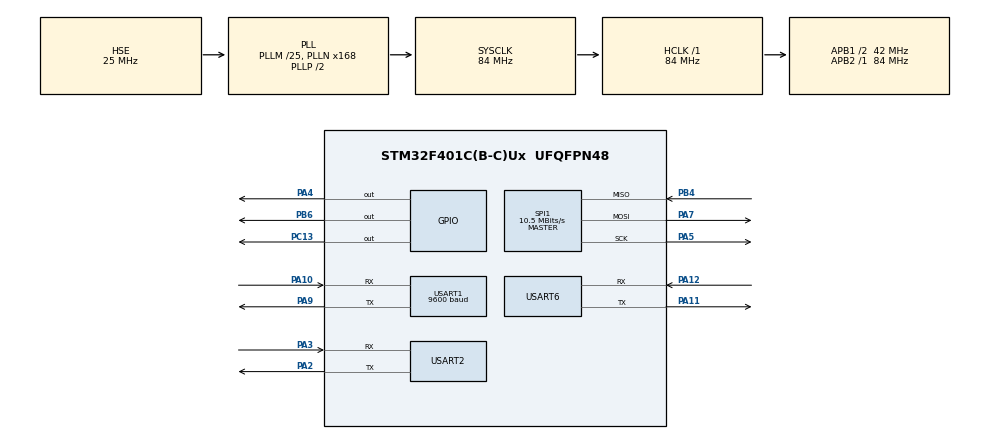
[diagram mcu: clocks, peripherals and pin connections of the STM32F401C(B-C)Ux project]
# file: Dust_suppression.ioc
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Dma.Request0=USART1_RX
Dma.USART1_RX.0.Direction=DMA_PERIPH_TO_MEMORY
Dma.USART1_RX.0.FIFOMode=DMA_FIFOMODE_DISABLE
Dma.USART1_RX.0.Instance=DMA2_Stream2
Dma.USART1_RX.0.MemDataAlignment=DMA_MDATAALIGN_BYTE
Dma.USART1_RX.0.MemInc=DMA_MINC_ENABLE
Dma.USART1_RX.0.Mode=DMA_CIRCULAR
Dma.USART1_RX.0.PeriphDataAlignment=DMA_PDATAALIGN_BYTE
Dma.USART1_RX.0.PeriphInc=DMA_PINC_DISABLE
Dma.USART1_RX.0.Priority=DMA_PRIORITY_LOW
IWDG.Prescaler=IWDG_PRESCALER_64
Mcu.Family=STM32F4
Mcu.Name=STM32F401C(B-C)Ux
Mcu.Package=UFQFPN48
NVIC.DMA2_Stream2_IRQn=true\:0\:0\:false\:false\:true\:false\:true
NVIC.PriorityGroup=NVIC_PRIORITYGROUP_4
NVIC.TIM2_IRQn=true\:0\:0\:false\:false\:true\:true\:true
NVIC.USART1_IRQn=true\:0\:0\:false\:false\:true\:true\:true
NVIC.USART2_IRQn=true\:0\:0\:false\:false\:true\:true\:true
NVIC.USART6_IRQn=true\:0\:0\:false\:false\:true\:true\:true
PA10.GPIO_PuPd=GPIO_PULLUP
PA10.GPIO_Speed=GPIO_SPEED_FREQ_LOW
PA10.Mode=Asynchronous
PA10.Signal=USART1_RX
PA11.GPIO_Speed=GPIO_SPEED_FREQ_MEDIUM
PA11.Mode=Asynchronous
PA11.Signal=USART6_TX
PA12.GPIO_PuPd=GPIO_PULLUP
PA12.GPIO_Speed=GPIO_SPEED_FREQ_MEDIUM
PA12.Mode=Asynchronous
PA12.Signal=USART6_RX
PA13.Mode=Serial_Wire
PA13.Signal=SYS_JTMS-SWDIO
PA14.Mode=Serial_Wire
PA14.Signal=SYS_JTCK-SWCLK
PA2.GPIO_Speed=GPIO_SPEED_FREQ_MEDIUM
PA2.Mode=Asynchronous
PA2.Signal=USART2_TX
PA3.GPIO_PuPd=GPIO_PULLUP
PA3.GPIO_Speed=GPIO_SPEED_FREQ_MEDIUM
PA3.Mode=Asynchronous
PA3.Signal=USART2_RX
PA4.GPIO_PuPd=GPIO_PULLUP
PA4.GPIO_Speed=GPIO_SPEED_FREQ_HIGH
PA4.PinState=GPIO_PIN_SET
PA4.Signal=GPIO_Output
PA5.GPIO_Mode=GPIO_MODE_AF_PP
PA5.GPIO_PuPd=GPIO_NOPULL
PA5.GPIO_Speed=GPIO_SPEED_FREQ_HIGH
PA5.Mode=Full_Duplex_Master
PA5.Signal=SPI1_SCK
PA7.GPIO_Speed=GPIO_SPEED_FREQ_HIGH
PA7.Mode=Full_Duplex_Master
PA7.Signal=SPI1_MOSI
PA9.GPIO_Speed=GPIO_SPEED_FREQ_LOW
PA9.Mode=Asynchronous
PA9.Signal=USART1_TX
PB4.GPIO_Speed=GPIO_SPEED_FREQ_HIGH
PB4.Mode=Full_Duplex_Master
PB4.Signal=SPI1_MISO
PB6.GPIO_Speed=GPIO_SPEED_FREQ_LOW
PB6.Signal=GPIO_Output
PC13-ANTI_TAMP.PinState=GPIO_PIN_SET
PC13-ANTI_TAMP.Signal=GPIO_Output
PH0\ -\ OSC_IN.Mode=HSE-External-Oscillator
PH0\ -\ OSC_IN.Signal=RCC_OSC_IN
PH1\ -\ OSC_OUT.Mode=HSE-External-Oscillator
PH1\ -\ OSC_OUT.Signal=RCC_OSC_OUT
ProjectManager.HeapSize=0x1000
ProjectManager.StackSize=0x2000
ProjectManager.TargetToolchain=MDK-ARM V5
RCC.48MHZClocksFreq_Value=42000000
RCC.AHBFreq_Value=84000000
RCC.APB1CLKDivider=RCC_HCLK_DIV2
RCC.APB1Freq_Value=42000000
RCC.APB1TimFreq_Value=84000000
RCC.APB2Freq_Value=84000000
RCC.APB2TimFreq_Value=84000000
RCC.CortexFreq_Value=84000000
RCC.HCLKFreq_Value=84000000
RCC.HSE_VALUE=25000000
RCC.HSI_VALUE=16000000
RCC.LSE_VALUE=32768
RCC.PLLM=25
RCC.PLLN=168
RCC.PLLSourceVirtual=RCC_PLLSOURCE_HSE
RCC.SYSCLKFreq_VALUE=84000000
RCC.SYSCLKSource=RCC_SYSCLKSOURCE_PLLCLK
RCC.VCOOutputFreq_Value=168000000
SPI1.BaudRatePrescaler=SPI_BAUDRATEPRESCALER_8
SPI1.CLKPhase=SPI_PHASE_2EDGE
SPI1.CLKPolarity=SPI_POLARITY_HIGH
SPI1.CalculateBaudRate=10.5 MBits/s
SPI1.Direction=SPI_DIRECTION_2LINES
SPI1.Mode=SPI_MODE_MASTER
SPI1.VirtualType=VM_MASTER
TIM2.AutoReloadPreload=TIM_AUTORELOAD_PRELOAD_ENABLE
TIM2.Period=999
TIM2.Prescaler=8399
TIM2.TIM_MasterSlaveMode=TIM_MASTERSLAVEMODE_DISABLE
USART1.BaudRate=9600
USART1.VirtualMode=VM_ASYNC
USART2.VirtualMode=VM_ASYNC
USART6.VirtualMode=VM_ASYNC
VP_IWDG_VS_IWDG.Mode=IWDG_Activate
VP_TIM2_VS_ClockSourceINT.Mode=Internal
board=custom

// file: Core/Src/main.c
/* USER CODE BEGIN Header */
/**
  ******************************************************************************
  * @file           : main.c
  * @brief          : Main program body
  ******************************************************************************
  * @attention
  *
  * <h2><center>&copy; Copyright (c) 2022 STMicroelectronics.
  * All rights reserved.</center></h2>
  *
  * This software component is licensed by ST under BSD 3-Clause license,
  * the "License"; You may not use this file except in compliance with the
  * License. You may obtain a copy of the License at:
  *                        opensource.org/licenses/BSD-3-Clause
  *
		<read me first> Xiaofeng Zhong 2022.7.10
		SPI_CS          PA4
		Pump  					PB6
		LED2            PC13
		note 1: set --> Target --> choose "use MicroLIB" for using printf().
		note 2: first use, E18 Mac address should be write to W25Q32.

  ******************************************************************************
  */
/* USER CODE END Header */
#include "main.h"

/* USER CODE BEGIN Includes */
#include "stdio.h"
#include "string.h"
#include "cJSON.h"
#include "assert.h"
#include "math.h"
#include "W25Qxx.h"
/* USER CODE END Includes */

/* USER CODE BEGIN PD */
#define MAX_rebuffsize  400					// STM32 UART1 rebuffsize
#define E18_number      3					// number of E18 chips

#define addr_for_software_params  0x00   //0~0x1000 is used for storging software params (W25Q32)
#define addr_for_SV_state 0x1000   //0x1000~0x11000 is used for storging pump_state
#define addr_for_E18_short_addr 0x11000   //0x11000~0x31000 is used for storging software params (W25Q32)
#define W25Qxx_addr_for_Mac   0x31000   //0x31000~0xB1000  write and read begin at this address
/* USER CODE END PD */

IWDG_HandleTypeDef hiwdg;

SPI_HandleTypeDef hspi1;

TIM_HandleTypeDef htim2;

UART_HandleTypeDef huart1;
UART_HandleTypeDef huart2;
UART_HandleTypeDef huart6;
DMA_HandleTypeDef hdma_usart1_rx;

/* USER CODE BEGIN PV */
struct item{
int	report_data;					//1: report data   0:don't report data
int	Pump_state;             //1:run 0:stop
int	SV_state;								//1:open 0:close
int	MAX_Moisture;      //if biger than this value,the solenoid valve and pump will stop
int	Min_Moisture;      //if smaller than this value,the solenoid valve and pump will run
int	interval_time;    	//delay=interval_time*(100ms)
int	auto_control;         //1: Auto  0: Manual
int	E18_mac_cnt;
int ADDR_cnt;
}item1;

/* USER CODE END PV */

void SystemClock_Config(void);
static void MX_GPIO_Init(void);
static void MX_IWDG_Init(void);
static void MX_USART1_UART_Init(void);
static void MX_USART2_UART_Init(void);
static void MX_USART6_UART_Init(void);
static void MX_DMA_Init(void);
static void MX_TIM2_Init(void);
static void MX_SPI1_Init(void);
/* USER CODE BEGIN PFP */
void NBIoT_Init(void); //NB-IoT initialization and subscrib to topic "/sys/gc6pOMrLMi8/NB-IoT_EC-01-Kit/thing/service/property/set/",every time it start
void W25Q32_Init(void);
void Params_Init(void);
int E18_Init(void);
int Get_ADDR(int Serial_Num);  // return -1:failed , addr
void Get_ALL_ADDR(void);
int Get_ADC(void);			// return -1:failed , adc
int BF(char* str, char* sub); //string matching
int SV_operate(int SV_state,int ADDR);  //return 1:ok, -1:failed
int Pump_operate(int Pump_state,int Serial_Num);   // return 1:on, 0:off
void MY_UART1_RxCpltCallback(void);
int fputc(int ch, FILE *f);
void Moisture_Get_and_Upload(void);  //Get Moisture from E18 and Report data through EC-01
void Record_Mac_cnt(void);
void Record_Params(void);
void Record_SV_state(int SV_state,int Serial_Num);
int Read_SV_state(void);
int Read_ADDR(int Serial_Num);
int Write_ADDR(uint8_t buffer[],int Serial_Num);
void Array_sort(void);
/* USER CODE END PFP */

/* USER CODE BEGIN 0 */
uint8_t W25Q32_read_buff[14];
uint8_t usart1_rebuff[MAX_rebuffsize];
uint8_t usart1_copy[MAX_rebuffsize];
uint16_t usart1_Rx_cnt=0;
uint8_t RecFlag=0;
uint8_t JSON_rebuff[200];
uint8_t usart6_rebuff[20];
uint8_t usart6_rebuf;
uint16_t usart6_Rx_cnt=0;
uint8_t usart2_rebuff[20];
uint8_t usart2_rebuf;
uint16_t usart2_Rx_cnt=0;
uint16_t detect_cnt=0;
volatile int adc_list[5];
uint8_t led_state=0;
float EC_sent_buffer[10][4];
volatile int EC_sent_cnt=1;
unsigned long mac_num=E18_number;
volatile uint8_t L2[7]={0xFE,0x04,0x23,0x00,0x00,0x02,0xFF};//Hex command for getting adc vale
/* USER CODE END 0 */

int main(void)
{

  /* MCU Configuration--------------------------------------------------------*/

  /* Reset of all peripherals, Initializes the Flash interface and the Systick. */
  HAL_Init();

  /* Configure the system clock */
  SystemClock_Config();

  /* Initialize all configured peripherals */
  MX_GPIO_Init();
  MX_DMA_Init();
  MX_USART1_UART_Init();
  MX_USART2_UART_Init();
  MX_USART6_UART_Init();
  MX_TIM2_Init();
  MX_SPI1_Init();
  /* USER CODE BEGIN 2 */
	HAL_Delay(1000);
	W25Q32_Init();
	Params_Init();
	E18_Init();
	NBIoT_Init();
	Get_ALL_ADDR();
	__HAL_UART_ENABLE_IT(&huart1,UART_IT_IDLE);
  HAL_UART_Receive_DMA(&huart1,usart1_rebuff,MAX_rebuffsize);
	MX_IWDG_Init();	 // note!!!, MX_IWDG_Init() must follow NBIoT_Init and other user code!!!  and  MX_DMA_Init() must before MX_USART1_UART_Init()
	HAL_TIM_Base_Start_IT(&htim2);
  /* USER CODE END 2 */

  /* Infinite loop */
  /* USER CODE BEGIN WHILE */
  while (1)
  {
		if (RecFlag==1){												//Judge DMA UART1 receive flag,
				MY_UART1_RxCpltCallback();					//deal with message received from UART1
				Record_Params();										//record user settings in W25Q32(spi flash)
				RecFlag=0;													//reset flag
		}
		if (detect_cnt>=(item1.interval_time*50)){  							//soil moisture detect interval,minimum scale:0.1s
				detect_cnt=0;																					//delay count reset
				//printf("E18_mac_cnt:%d\r\n",item1.E18_mac_cnt);  		//show the current number of E18 by which soil moisture is being detected
				Moisture_Get_and_Upload();														//show the current number of E18 by which soil moisture is being detected
				Record_Mac_cnt();																			//show the current number of E18 by which soil moisture is being detected
				if(item1.E18_mac_cnt>=(mac_num-1)){
							item1.E18_mac_cnt=0;}
				else{item1.E18_mac_cnt++;}														//Polling statement
		}else{detect_cnt++;HAL_Delay(1);}
    /* USER CODE END WHILE */

  }

}

void SystemClock_Config(void)
{
  RCC_OscInitTypeDef RCC_OscInitStruct = {0};
  RCC_ClkInitTypeDef RCC_ClkInitStruct = {0};

  /** Configure the main internal regulator output voltage
  */
  __HAL_RCC_PWR_CLK_ENABLE();
  __HAL_PWR_VOLTAGESCALING_CONFIG(PWR_REGULATOR_VOLTAGE_SCALE2);
  /** Initializes the RCC Oscillators according to the specified parameters
  * in the RCC_OscInitTypeDef structure.
  */
  RCC_OscInitStruct.OscillatorType = RCC_OSCILLATORTYPE_LSI|RCC_OSCILLATORTYPE_HSE;
  RCC_OscInitStruct.HSEState = RCC_HSE_ON;
  RCC_OscInitStruct.LSIState = RCC_LSI_ON;
  RCC_OscInitStruct.PLL.PLLState = RCC_PLL_ON;
  RCC_OscInitStruct.PLL.PLLSource = RCC_PLLSOURCE_HSE;
  RCC_OscInitStruct.PLL.PLLM = 25;
  RCC_OscInitStruct.PLL.PLLN = 168;
  RCC_OscInitStruct.PLL.PLLP = RCC_PLLP_DIV2;
  RCC_OscInitStruct.PLL.PLLQ = 4;
  if (HAL_RCC_OscConfig(&RCC_OscInitStruct) != HAL_OK)
  {
    Error_Handler();
  }
  /** Initializes the CPU, AHB and APB buses clocks
  */
  RCC_ClkInitStruct.ClockType = RCC_CLOCKTYPE_HCLK|RCC_CLOCKTYPE_SYSCLK
                              |RCC_CLOCKTYPE_PCLK1|RCC_CLOCKTYPE_PCLK2;
  RCC_ClkInitStruct.SYSCLKSource = RCC_SYSCLKSOURCE_PLLCLK;
  RCC_ClkInitStruct.AHBCLKDivider = RCC_SYSCLK_DIV1;
  RCC_ClkInitStruct.APB1CLKDivider = RCC_HCLK_DIV2;
  RCC_ClkInitStruct.APB2CLKDivider = RCC_HCLK_DIV1;

  if (HAL_RCC_ClockConfig(&RCC_ClkInitStruct, FLASH_LATENCY_2) != HAL_OK)
  {
    Error_Handler();
  }
}

static void MX_IWDG_Init(void)
{

  hiwdg.Instance = IWDG;
  hiwdg.Init.Prescaler = IWDG_PRESCALER_64;
  hiwdg.Init.Reload = 4095;
  if (HAL_IWDG_Init(&hiwdg) != HAL_OK)
  {
    Error_Handler();
  }

}

static void MX_SPI1_Init(void)
{

  /* SPI1 parameter configuration*/
  hspi1.Instance = SPI1;
  hspi1.Init.Mode = SPI_MODE_MASTER;
  hspi1.Init.Direction = SPI_DIRECTION_2LINES;
  hspi1.Init.DataSize = SPI_DATASIZE_8BIT;
  hspi1.Init.CLKPolarity = SPI_POLARITY_HIGH;
  hspi1.Init.CLKPhase = SPI_PHASE_2EDGE;
  hspi1.Init.NSS = SPI_NSS_SOFT;
  hspi1.Init.BaudRatePrescaler = SPI_BAUDRATEPRESCALER_8;
  hspi1.Init.FirstBit = SPI_FIRSTBIT_MSB;
  hspi1.Init.TIMode = SPI_TIMODE_DISABLE;
  hspi1.Init.CRCCalculation = SPI_CRCCALCULATION_DISABLE;
  hspi1.Init.CRCPolynomial = 10;
  if (HAL_SPI_Init(&hspi1) != HAL_OK)
  {
    Error_Handler();
  }

}

static void MX_TIM2_Init(void)
{

  TIM_ClockConfigTypeDef sClockSourceConfig = {0};
  TIM_MasterConfigTypeDef sMasterConfig = {0};

  htim2.Instance = TIM2;
  htim2.Init.Prescaler = 8399;
  htim2.Init.CounterMode = TIM_COUNTERMODE_UP;
  htim2.Init.Period = 999;
  htim2.Init.ClockDivision = TIM_CLOCKDIVISION_DIV1;
  htim2.Init.AutoReloadPreload = TIM_AUTORELOAD_PRELOAD_ENABLE;
  if (HAL_TIM_Base_Init(&htim2) != HAL_OK)
  {
    Error_Handler();
  }
  sClockSourceConfig.ClockSource = TIM_CLOCKSOURCE_INTERNAL;
  if (HAL_TIM_ConfigClockSource(&htim2, &sClockSourceConfig) != HAL_OK)
  {
    Error_Handler();
  }
  sMasterConfig.MasterOutputTrigger = TIM_TRGO_RESET;
  sMasterConfig.MasterSlaveMode = TIM_MASTERSLAVEMODE_DISABLE;
  if (HAL_TIMEx_MasterConfigSynchronization(&htim2, &sMasterConfig) != HAL_OK)
  {
    Error_Handler();
  }

}

static void MX_USART1_UART_Init(void)
{

  huart1.Instance = USART1;
  huart1.Init.BaudRate = 9600;
  huart1.Init.WordLength = UART_WORDLENGTH_8B;
  huart1.Init.StopBits = UART_STOPBITS_1;
  huart1.Init.Parity = UART_PARITY_NONE;
  huart1.Init.Mode = UART_MODE_TX_RX;
  huart1.Init.HwFlowCtl = UART_HWCONTROL_NONE;
  huart1.Init.OverSampling = UART_OVERSAMPLING_16;
  if (HAL_UART_Init(&huart1) != HAL_OK)
  {
    Error_Handler();
  }

}

static void MX_USART2_UART_Init(void)
{

  huart2.Instance = USART2;
  huart2.Init.BaudRate = 115200;
  huart2.Init.WordLength = UART_WORDLENGTH_8B;
  huart2.Init.StopBits = UART_STOPBITS_1;
  huart2.Init.Parity = UART_PARITY_NONE;
  huart2.Init.Mode = UART_MODE_TX_RX;
  huart2.Init.HwFlowCtl = UART_HWCONTROL_NONE;
  huart2.Init.OverSampling = UART_OVERSAMPLING_16;
  if (HAL_UART_Init(&huart2) != HAL_OK)
  {
    Error_Handler();
  }

}

static void MX_USART6_UART_Init(void)
{

  huart6.Instance = USART6;
  huart6.Init.BaudRate = 115200;
  huart6.Init.WordLength = UART_WORDLENGTH_8B;
  huart6.Init.StopBits = UART_STOPBITS_1;
  huart6.Init.Parity = UART_PARITY_NONE;
  huart6.Init.Mode = UART_MODE_TX_RX;
  huart6.Init.HwFlowCtl = UART_HWCONTROL_NONE;
  huart6.Init.OverSampling = UART_OVERSAMPLING_16;
  if (HAL_UART_Init(&huart6) != HAL_OK)
  {
    Error_Handler();
  }

}

static void MX_DMA_Init(void)
{

  /* DMA controller clock enable */
  __HAL_RCC_DMA2_CLK_ENABLE();

  /* DMA interrupt init */
  /* DMA2_Stream2_IRQn interrupt configuration */
  HAL_NVIC_SetPriority(DMA2_Stream2_IRQn, 0, 0);
  HAL_NVIC_EnableIRQ(DMA2_Stream2_IRQn);

}

static void MX_GPIO_Init(void)
{
  GPIO_InitTypeDef GPIO_InitStruct = {0};

  /* GPIO Ports Clock Enable */
  __HAL_RCC_GPIOC_CLK_ENABLE();
  __HAL_RCC_GPIOH_CLK_ENABLE();
  __HAL_RCC_GPIOA_CLK_ENABLE();
  __HAL_RCC_GPIOB_CLK_ENABLE();

  /*Configure GPIO pin Output Level */
  HAL_GPIO_WritePin(GPIOC, GPIO_PIN_13, GPIO_PIN_SET);

  /*Configure GPIO pin Output Level */
  HAL_GPIO_WritePin(GPIOA, GPIO_PIN_4, GPIO_PIN_SET);

  /*Configure GPIO pin Output Level */
  HAL_GPIO_WritePin(GPIOB, GPIO_PIN_6, GPIO_PIN_RESET);

  /*Configure GPIO pin : PC13 */
  GPIO_InitStruct.Pin = GPIO_PIN_13;
  GPIO_InitStruct.Mode = GPIO_MODE_OUTPUT_PP;
  GPIO_InitStruct.Pull = GPIO_NOPULL;
  GPIO_InitStruct.Speed = GPIO_SPEED_FREQ_LOW;
  HAL_GPIO_Init(GPIOC, &GPIO_InitStruct);

  /*Configure GPIO pin : PA4 */
  GPIO_InitStruct.Pin = GPIO_PIN_4;
  GPIO_InitStruct.Mode = GPIO_MODE_OUTPUT_PP;
  GPIO_InitStruct.Pull = GPIO_PULLUP;
  GPIO_InitStruct.Speed = GPIO_SPEED_FREQ_HIGH;
  HAL_GPIO_Init(GPIOA, &GPIO_InitStruct);

  /*Configure GPIO pin : PB6 */
  GPIO_InitStruct.Pin = GPIO_PIN_6;
  GPIO_InitStruct.Mode = GPIO_MODE_OUTPUT_PP;
  GPIO_InitStruct.Pull = GPIO_NOPULL;
  GPIO_InitStruct.Speed = GPIO_SPEED_FREQ_LOW;
  HAL_GPIO_Init(GPIOB, &GPIO_InitStruct);

}

/* USER CODE BEGIN 4 */
void NBIoT_Init(void){
	printf("NB-IoT init .....\r\n"); //check whether the startup is ok
	printf("stpe0\r\n");
	while(1){
	HAL_UART_Transmit(&huart1, (uint8_t *)"ATE0\r\n",6,0xFFFF);//	Do not send back instructions
	HAL_UART_Receive(&huart1, (void *)&usart1_rebuff, 6, 1000);
		if(BF((char*)usart1_rebuff, "OK")!=-1){memset(usart1_rebuff,0x00,sizeof(usart1_rebuff));break;}
		memset(usart1_rebuff,0x00,sizeof(usart1_rebuff));
		HAL_Delay(200);
	}
	printf("stpe1\r\n"); //check whether the startup is ok
	while(1){
	HAL_UART_Transmit(&huart1, (uint8_t *)"AT\r\n",4,0xFFFF);
	HAL_UART_Receive(&huart1, (void *)&usart1_rebuff, 6, 1000);
		if(BF((char*)usart1_rebuff, "OK")!=-1){memset(usart1_rebuff,0x00,sizeof(usart1_rebuff));break;}
		memset(usart1_rebuff,0x00,sizeof(usart1_rebuff));
		HAL_Delay(200);
	}
	printf("stpe2\r\n");//show SIM card number
	while(1){
	HAL_UART_Transmit(&huart1, (uint8_t *)"AT+ECICCID\r\n",12,0xFFFF);
	HAL_UART_Receive(&huart1, (void *)&usart1_rebuff, 64, 1000);
		if(BF((char*)usart1_rebuff, "OK")!=-1){printf("%s\r\n",usart1_rebuff);memset(usart1_rebuff,0x00,sizeof(usart1_rebuff));break;}
		memset(usart1_rebuff,0x00,sizeof(usart1_rebuff));
		HAL_Delay(200);
	}
	printf("stpe3\r\n");//Turn off flight mode
	while(1){
	HAL_UART_Transmit(&huart1, (uint8_t *)"AT+CFUN=1\r\n",11,0xFFFF);
	HAL_UART_Receive(&huart1, (void *)&usart1_rebuff, 6, 1000);
		if(BF((char*)usart1_rebuff, "OK")!=-1){memset(usart1_rebuff,0x00,sizeof(usart1_rebuff));break;}
		memset(usart1_rebuff,0x00,sizeof(usart1_rebuff));
		HAL_Delay(200);
	}
	printf("stpe4\r\n");//PS attachment
	while(1){
	HAL_UART_Transmit(&huart1, (uint8_t *)"AT+CGATT=1\r\n",12,0xFFFF);
	HAL_UART_Receive(&huart1, (void *)&usart1_rebuff, 6, 1000);
		if(BF((char*)usart1_rebuff, "OK")!=-1){memset(usart1_rebuff,0x00,sizeof(usart1_rebuff));break;}
		memset(usart1_rebuff,0x00,sizeof(usart1_rebuff));
		HAL_Delay(200);
	}
	printf("stpe5\r\n");//show signal quality
	while(1){
	HAL_UART_Transmit(&huart1, (uint8_t *)"AT+CSQ\r\n",8,0xFFFF);
	HAL_UART_Receive(&huart1, (void *)&usart1_rebuff, 64, 1000);
		if(BF((char*)usart1_rebuff, "OK")!=-1){printf("%s\r\n",usart1_rebuff);memset(usart1_rebuff,0x00,sizeof(usart1_rebuff));break;}
		memset(usart1_rebuff,0x00,sizeof(usart1_rebuff));
		HAL_Delay(200);
	}
	printf("stpe6\r\n");//active PDP Context
	while(1){
	HAL_UART_Transmit(&huart1, (uint8_t *)"AT+CGDCONT=1,IP,CMNET\r\n",23,0xFFFF);
	HAL_UART_Receive(&huart1, (void *)&usart1_rebuff, 6, 1000);
		if(BF((char*)usart1_rebuff, "OK")!=-1){memset(usart1_rebuff,0x00,sizeof(usart1_rebuff));break;}
		memset(usart1_rebuff,0x00,sizeof(usart1_rebuff));
		HAL_Delay(200);
	}
	printf("stpe7\r\n");//keep alive every 60 seconds
	while(1){
	HAL_UART_Transmit(&huart1, (uint8_t *)"AT+ECMTCFG=\"keepalive\",0,60\r\n",64,0xFFFF);
	HAL_UART_Receive(&huart1, (void *)&usart1_rebuff, 6, 1000);
		if(BF((char*)usart1_rebuff, "OK")!=-1){memset(usart1_rebuff,0x00,sizeof(usart1_rebuff));break;}
		memset(usart1_rebuff,0x00,sizeof(usart1_rebuff));
		HAL_Delay(200);
	}
	printf("stpe8\r\n");//Set the cloud platform to Alibaba cloud and the data type to JSON
	while(1){
	HAL_UART_Transmit(&huart1, (uint8_t *)"AT+ECMTCFG=\"cloud\",0,2,1\r\n",27,0xFFFF);
	HAL_UART_Receive(&huart1, (void *)&usart1_rebuff, 6, 1000);
		if(BF((char*)usart1_rebuff, "OK")!=-1){memset(usart1_rebuff,0x00,sizeof(usart1_rebuff));break;}
		memset(usart1_rebuff,0x00,sizeof(usart1_rebuff));
		HAL_Delay(200);
	}
	printf("stpe9\r\n");//Set MQTT account
	while(1){
	HAL_UART_Transmit(&huart1, (uint8_t *)"AT+ECMTCFG=\"aliauth\",0,\"gc6pOMrLMi8\",\"NB-IoT_EC-01-Kit\",\"696de0a6ad9bb5b66f8140e8aac5dad9\"\r\n",92,0xFFFF);
	HAL_UART_Receive(&huart1, (void *)&usart1_rebuff, 6, 1000);
		if(BF((char*)usart1_rebuff, "OK")!=-1){memset(usart1_rebuff,0x00,sizeof(usart1_rebuff));break;}
		memset(usart1_rebuff,0x00,sizeof(usart1_rebuff));
		HAL_Delay(200);
	}
	printf("stpe10\r\n");//IoT platform address and port
	while(1){
	HAL_UART_Transmit(&huart1, (uint8_t *)"AT+ECMTOPEN=0,\"gc6pOMrLMi8.iot-as-mqtt.cn-shanghai.aliyuncs.com\",1883\r\n",72,0xFFFF);
	HAL_UART_Receive(&huart1, (void *)&usart1_rebuff, 64, 1000);
		if(BF((char*)usart1_rebuff, "OK")!=-1){memset(usart1_rebuff,0x00,sizeof(usart1_rebuff));break;}
		memset(usart1_rebuff,0x00,sizeof(usart1_rebuff));
		HAL_Delay(200);
	}
	printf("stpe11\r\n");//Create an mqtt client and register the device in the cloud
	while(1){
	HAL_UART_Transmit(&huart1, (uint8_t *)"AT+ECMTCONN=0,\"12345\"\r\n",23,0xFFFF);
	HAL_UART_Receive(&huart1, (void *)&usart1_rebuff, 64, 1000);
		if(BF((char*)usart1_rebuff, "OK")!=-1){memset(usart1_rebuff,0x00,sizeof(usart1_rebuff));break;}
		memset(usart1_rebuff,0x00,sizeof(usart1_rebuff));
		HAL_Delay(200);
	}
	printf("stpe12\r\n");//Subscribe to Topics
	while(1){
	HAL_UART_Transmit(&huart1, (uint8_t *)"AT+ECMTSUB=0,1,\"/sys/gc6pOMrLMi8/NB-IoT_EC-01-Kit/thing/service/property/set\",1\r\n",81,0xFFFF);
	HAL_UART_Receive(&huart1, (void *)&usart1_rebuff, 64, 1000);
		if(BF((char*)usart1_rebuff, "OK")!=-1){memset(usart1_rebuff,0x00,sizeof(usart1_rebuff));break;}
		memset(usart1_rebuff,0x00,sizeof(usart1_rebuff));
		HAL_Delay(200);
	}
	printf("NB-IoT Init OK.....\r\n");//NB-IoT Initialization succeeded
	//publish topics
	char str1[512];
	sprintf(str1,"AT+ECMTPUB=0,1,1,0,\"/sys/gc6pOMrLMi8/NB-IoT_EC-01-Kit/thing/event/property/post\",\"{\"params\":{\"auto_control\":{\"value\":%d},\"report_data\":{\"value\":%d},\"MAX_Moisture\":{\"value\":%d},\"Min_Moisture\":{\"value\":%d},\"interval_time\":{\"value\":%d},\"Pump\":{\"value\":%d}}}\"\r\n",item1.auto_control,item1.report_data,item1.MAX_Moisture,item1.Min_Moisture,item1.interval_time,item1.Pump_state);
	HAL_UART_Transmit(&huart1,(uint8_t*)str1,strlen(str1),5000);while(HAL_UART_GetState(&huart1) == HAL_UART_STATE_BUSY_TX);
	printf("publish topic OK....\r\n");

}

int BF(char* str, char* sub){//string matching
	assert(str&&sub);
	if (str == NULL || sub == NULL)
	{
		return -1;
	}
	int i = 0;
	int j = 0;
	int lenstr = strlen(str);
	int lensub = strlen(sub);
	while ((i < lenstr) && (j < lensub))
	{
		if (str[i] == sub[j])
		{
			i++;
			j++;
		}
		else
		{
			i = i - j + 1;
			j = 0;
		}
	}
	if (j >= lensub)
	{
		return i - j;
	}
	else
		return -1;
}

void HAL_TIM_PeriodElapsedCallback(TIM_HandleTypeDef *htim){ //led  twinkle and IWDG feed
	if (htim->Instance == htim2.Instance)
	{	HAL_IWDG_Refresh(&hiwdg);
		if (led_state){
		HAL_GPIO_WritePin(GPIOC, GPIO_PIN_13,GPIO_PIN_RESET);
		}else{HAL_GPIO_WritePin(GPIOC, GPIO_PIN_13,GPIO_PIN_SET);}
		led_state=!led_state;
	}
}

void Moisture_Get_and_Upload(void){
	if (item1.auto_control==0){;}
	else{
			int address;float adc;int Serial_Num=item1.E18_mac_cnt+1;int judge;
			if(item1.E18_mac_cnt==0){address=65535;}else{
			address=Read_ADDR(Serial_Num);}
			if (address==65529){
						int addr_value=Get_ADDR(Serial_Num);
						if (addr_value==-1){return;}
						else{
								L2[3]=(uint8_t)(addr_value/256);L2[4]=(uint8_t)(addr_value%256);
								uint8_t W25Q32_write_buff[2]={L2[3],L2[4]};
								Write_ADDR((unsigned char*)W25Q32_write_buff,Serial_Num);}
				}else{L2[3]=(uint8_t)(address/256);L2[4]=(uint8_t)(address%256);}
				//printf("address:%d...",address);

				for(int j=0;j<5;j++){adc_list[j]=Get_ADC();}						//get adc value 5 times
				Array_sort();																						//Array sort
				adc=(adc_list[1]+adc_list[2]+adc_list[3])/3;						//Eliminate the maximum and minimum values, then take the average value
				adc=(3300-adc);																					//Change negative correlation data into positive correlation data
				adc=(adc-1742)*100/(887);																//Using fuzzy mathematics to define humidity percentage

				if (adc>100){adc=100;}						//Set upper limit
				if (adc<0){adc=0;}								//Set lower limit

				judge=adc_list[0];
				memset((void*)&adc_list,0x00,sizeof(adc_list));
			if (judge==-1){
						int addr_value=Get_ADDR(Serial_Num);
						if (addr_value==-1){return;}
						else{
							L2[3]=(uint8_t)(addr_value/256);L2[4]=(uint8_t)(addr_value%256);
							uint8_t W25Q32_write_buff[2]={L2[3],L2[4]};
							Write_ADDR((unsigned char*)W25Q32_write_buff,Serial_Num);}
			}
		if ((adc>item1.MAX_Moisture)||(adc<item1.Min_Moisture)){
					if (adc>item1.MAX_Moisture){item1.SV_state=0;item1.Pump_state=0,SV_operate(item1.SV_state,address);item1.Pump_state=Pump_operate(item1.Pump_state,Serial_Num);}
					if (adc<item1.Min_Moisture){item1.SV_state=1;item1.Pump_state=1,SV_operate(item1.SV_state,address);item1.Pump_state=Pump_operate(item1.Pump_state,Serial_Num);}
				if (item1.report_data==1){
							if(item1.interval_time>10){
									char str1[300];
									sprintf(str1,"AT+ECMTPUB=0,1,1,0,\"/sys/gc6pOMrLMi8/NB-IoT_EC-01-Kit/thing/event/property/post\",\"{\"params\":{\"SM%d\":{\"value\":%.1f},\"Serial_Num\":{\"value\":%d},\"SV%d\":{\"value\":%d},\"Pump\":{\"value\":%d}}}\"\r\n",Serial_Num,adc,Serial_Num,Serial_Num,item1.SV_state,item1.Pump_state);
									HAL_UART_Transmit(&huart1,(uint8_t*)str1,strlen(str1),5000);
									printf("publish topic OK....\r\n");
							}else	{
										EC_sent_buffer[EC_sent_cnt-1][0]=Serial_Num;EC_sent_buffer[EC_sent_cnt-1][1]=adc;EC_sent_buffer[EC_sent_cnt-1][2]=item1.SV_state;EC_sent_buffer[EC_sent_cnt-1][3]=item1.Pump_state;
										if (EC_sent_cnt%((int)(10/item1.interval_time))==0){
													char str1[1024]="AT+ECMTPUB=0,1,1,0,\"/sys/gc6pOMrLMi8/NB-IoT_EC-01-Kit/thing/event/property/post\",\"{\"params\":{";
													int count=0;
													for (int i=0;i<(int)(10/item1.interval_time);i++){
															char str2[150];
															sprintf(str2,"\"SM%d\":{\"value\":%.1f},\"SV%d\":{\"value\":%d},",(int)EC_sent_buffer[i][0],EC_sent_buffer[i][1],(int)EC_sent_buffer[i][0],(int)EC_sent_buffer[i][2]);
															sprintf(str1,"%s%s",str1,str2);
															if (EC_sent_buffer[i][3]==1){count=1;}
													}
													char str3[20];
													sprintf(str3,"\"Pump\":{\"value\":%d}",count);
													sprintf(str1,"%s%s",str1,str3);
													int len =strlen((void *)&str1);
													str1[len]='}';str1[len+1]='}';str1[len+2]='\"';str1[len+3]='\r';str1[len+4]='\n';
													HAL_UART_Transmit(&huart1,(uint8_t*)str1,strlen(str1),5000);
													//HAL_UART_Transmit(&huart6,(uint8_t*)str1,strlen(str1),5000);while(HAL_UART_GetState(&huart6) == HAL_UART_STATE_BUSY_TX);
													printf("publish topic OK....\r\n");
													EC_sent_cnt=0;
										}EC_sent_cnt++;
							}
				}
		}else{
								if (item1.report_data==1){
											if(item1.interval_time>10){
														char str1[300];
														sprintf(str1,"AT+ECMTPUB=0,1,1,0,\"/sys/gc6pOMrLMi8/NB-IoT_EC-01-Kit/thing/event/property/post\",\"{\"params\":{\"SM%d\":{\"value\":%.1f}}}\"\r\n",Serial_Num,adc);
														HAL_UART_Transmit(&huart1,(uint8_t*)str1,strlen(str1),5000);
														printf("publish topic OK....\r\n");
											}else	{
														EC_sent_buffer[EC_sent_cnt-1][0]=Serial_Num;EC_sent_buffer[EC_sent_cnt-1][1]=adc;
														if (EC_sent_cnt%((int)(10/item1.interval_time))==0){
																	char str1[1024]="AT+ECMTPUB=0,1,1,0,\"/sys/gc6pOMrLMi8/NB-IoT_EC-01-Kit/thing/event/property/post\",\"{\"params\":{";
																	for (int i=0;i<(int)(10/item1.interval_time);i++){
																			char str2[150];
																			sprintf(str2,"\"SM%d\":{\"value\":%.1f},",(int)EC_sent_buffer[i][0],EC_sent_buffer[i][1]);
																			sprintf(str1,"%s%s",str1,str2);
																	}
																	int len =strlen((void *)&str1);
																	str1[len]='}';str1[len+1]='}';str1[len+2]='\"';str1[len+3]='\r';str1[len+4]='\n';
																	HAL_UART_Transmit(&huart1,(uint8_t*)str1,strlen(str1),5000);
																	//HAL_UART_Transmit(&huart6,(uint8_t*)str1,strlen(str1),5000);while(HAL_UART_GetState(&huart6) == HAL_UART_STATE_BUSY_TX);
																	printf("publish topic OK....\r\n");
																	EC_sent_cnt=0;
														}EC_sent_cnt++;
													}
					}

			}
		}
	}

int SV_operate(int SV_state,int ADDR){
		int timeout=8;
		uint8_t L1[8]={0xFD,0x05,0x20,0xFF,0xFF,0x03,0x00,0xFF}; //gpio output
		uint8_t L2[8]={0xFD,0x05,0x21,0xFF,0xFF,0x03,0x01,0xFF}; //gpio output level
		while(timeout--){
						L1[3]=(uint8_t)(ADDR/256);L1[4]=(uint8_t)(ADDR%256);
						HAL_UART_Transmit(&huart2,(void *)&L1,8,1000);
						HAL_UART_Receive(&huart2, (void *)&usart2_rebuff, 4,1000);
							if((usart2_rebuff[0] == 0xFA)&&(usart2_rebuff[1] == 0x20))
									{
										memset(usart2_rebuff,0x00,sizeof(usart2_rebuff));break;}
							memset(usart2_rebuff,0x00,sizeof(usart2_rebuff));
				}
		while(timeout--){
						if(SV_state==1){
								L2[3]=(uint8_t)(ADDR/256);L2[4]=(uint8_t)(ADDR%256);L2[6]=0x01;}
						else if (SV_state==0){
								L2[3]=(uint8_t)(ADDR/256);L2[4]=(uint8_t)(ADDR%256);L2[6]=0x00;}

						HAL_UART_Transmit(&huart2,(void *)&L2,8,1000);
						HAL_UART_Receive(&huart2, (void *)&usart2_rebuff, 4,1000);
							if((usart2_rebuff[0] == 0xFA)&&(usart2_rebuff[1] == 0x21))
									{
										memset(usart2_rebuff,0x00,sizeof(usart2_rebuff));break;}
							memset(usart2_rebuff,0x00,sizeof(usart2_rebuff));
				}
		if (timeout<0){ printf("SV_operate falied !!!\r\n");return -1;}else{return 1;}
}

int Pump_operate(int Pump_state,int Serial_Num){
		int pump_on;int n;
		if (item1.auto_control==0){
				if(Pump_state==1){pump_on=1;HAL_GPIO_WritePin(GPIOB, GPIO_PIN_6,GPIO_PIN_SET);}
				else if(Pump_state==0){pump_on=0;HAL_GPIO_WritePin(GPIOB, GPIO_PIN_6,GPIO_PIN_RESET);}
		}else if (item1.auto_control==1){
		Record_SV_state(Pump_state,Serial_Num);
		n=Read_SV_state();
		if (n==1){    // only when every pump state is off ,the pump will off.
					pump_on=1;HAL_GPIO_WritePin(GPIOB, GPIO_PIN_6,GPIO_PIN_SET);}
		else if(n==-1){
				 pump_on=0;HAL_GPIO_WritePin(GPIOB, GPIO_PIN_6,GPIO_PIN_RESET);}
		}
		return pump_on;
}

int Get_ADDR(int Serial_Num){
	int timeout=8;int addr=-1;uint8_t L1[12]={0xFE,0x09,0x10,0x00,0x00,0x00,0x00,0x00,0x00,0x00,0x00,0xFF};
	W25QXX_Read((uint8_t*)W25Q32_read_buff,W25Qxx_addr_for_Mac+(Serial_Num-1)*8,8);
	for(int j=0;j<8;j++){L1[j+3]=W25Q32_read_buff[j];}
	memset(W25Q32_read_buff,0x00,sizeof(W25Q32_read_buff));
	while(timeout--){
									HAL_UART_Transmit(&huart2,(void *)&L1,12,0x1000);while(HAL_UART_GetState(&huart2) == HAL_UART_STATE_BUSY_TX);
									HAL_UART_Receive(&huart2, (void *)&usart2_rebuff, 4,500);
										if(usart2_rebuff[0] == 0xFB)
												{addr=usart2_rebuff[1]*256+usart2_rebuff[2];memset(usart2_rebuff,0x00,sizeof(usart2_rebuff));break;}
												memset(usart2_rebuff,0x00,sizeof(usart2_rebuff));
							}
	if (timeout<0){ printf("get short_address falied !!!\r\n");return -1;}else{return addr;}

}
int Read_ADDR(int Serial_Num){
	W25QXX_Read((uint8_t*)W25Q32_read_buff,addr_for_E18_short_addr+(Serial_Num-1)*8,2);
	int addr=W25Q32_read_buff[0]*256+W25Q32_read_buff[1];
	memset(W25Q32_read_buff,0x00,sizeof(W25Q32_read_buff));
	return addr;
}
int Write_ADDR(uint8_t buffer[],int Serial_Num){
			W25QXX_Write_Enable();
			W25QXX_Write((unsigned char*)buffer,addr_for_E18_short_addr+(Serial_Num-1)*8,2);
			W25QXX_Write_Disable();
return 1;
}
void Get_ALL_ADDR(void){
	int addr=-1;
	for (int k=item1.ADDR_cnt;k<mac_num;k++){
	printf("get short_address  No.%d...\r\n",k+1);
	addr=Get_ADDR(k+1);
	if (addr==-1){
			uint8_t W25Q32_write_buff[2]={0xFF,0xF9};
			Write_ADDR((unsigned char*)W25Q32_write_buff,k+1);
			}
	else{
			uint8_t W25Q32_write_buff[2]={(uint8_t)(addr/256),(uint8_t)(addr%256)};
			Write_ADDR((unsigned char*)W25Q32_write_buff,k+1);
			}
		W25QXX_Write_Enable();
		uint8_t num[2]= {k/256,k%256};
		W25QXX_Write((uint8_t*)num,12,2);
		W25QXX_Write_Disable();
		HAL_Delay(400);
	}
	printf("get all ADDR  OK  !!! \r\n");
}
int Get_ADC(void){
	int timeout=8;int adc;
	while(timeout--){
	HAL_UART_Transmit(&huart2,(void *)&L2,7,0x1000);while(HAL_UART_GetState(&huart2) == HAL_UART_STATE_BUSY_TX);
	HAL_UART_Receive(&huart2, (void *)&usart2_rebuff, 6,1000);
		if((usart2_rebuff[0] == 0xFB)&&(usart2_rebuff[1] == 0x23))
				{
					adc=usart2_rebuff[4]*256+usart2_rebuff[5];
					memset(usart2_rebuff,0x00,sizeof(usart2_rebuff));break;}
		memset(usart2_rebuff,0x00,sizeof(usart2_rebuff));
					HAL_Delay(10);
				}
		if (timeout<0){ printf("get short_address falied !!!\r\n");return -1;}else{return adc;}
}

void MY_UART1_RxCpltCallback(void){
		usart1_copy[usart1_Rx_cnt] = '\0';
		usart1_Rx_cnt = 0;
		int cnt=BF((void *)&usart1_copy, "params");
		if(cnt!=-1){
		for (int j=cnt-2;j<strlen((void *)&usart1_copy);j++){usart1_copy[j-cnt+2]=usart1_copy[j];}
		for (int j=strlen((void *)&usart1_copy)-cnt+2;j<strlen((void *)&usart1_copy);j++){usart1_copy[j]=0x00;}
		usart1_copy[0]='{';
		int len=strlen((void *)&usart1_copy);
		cnt=BF((void *)&usart1_copy, "version");
		for (int j=cnt-1;j<len;j++){usart1_copy[j]=0x00;}	usart1_copy[cnt-2]='}';
		HAL_UART_Transmit(&huart6, (uint8_t *)usart1_copy,strlen((void *)&usart1_copy),3000); while(HAL_UART_GetState(&huart6) == HAL_UART_STATE_BUSY_TX);

//
		cJSON* cjson = cJSON_Parse((void *)&usart1_copy);
		if(cjson == NULL)
		{
					printf("\nJSON Parse failed...\n");
		}
		else
		{
					cJSON* item = cJSON_GetObjectItem(cjson,"params");
						printf("\nJSON Parse OK...\n");
					if(BF((void *)&usart1_copy, "auto_control")!=-1){item1.auto_control=cJSON_GetObjectItem(item,"auto_control")->valueint;}
					if(BF((void *)&usart1_copy, "report_data")!=-1){item1.report_data=cJSON_GetObjectItem(item,"report_data")->valueint;}
					if(BF((void *)&usart1_copy, "MAX_Moisture")!=-1){item1.MAX_Moisture=cJSON_GetObjectItem(item,"MAX_Moisture")->valueint;}
					if(BF((void *)&usart1_copy, "Min_Moisture")!=-1){item1.Min_Moisture=cJSON_GetObjectItem(item,"Min_Moisture")->valueint;}
					if(BF((void *)&usart1_copy, "interval_time")!=-1){item1.interval_time=cJSON_GetObjectItem(item,"interval_time")->valueint;}

					char str1[256];
					sprintf(str1,"AT+ECMTPUB=0,1,1,0,\"/sys/gc6pOMrLMi8/NB-IoT_EC-01-Kit/thing/event/property/post\",\"{\"params\":{\"auto_control\":{\"value\":%d},\"report_data\":{\"value\":%d},\"MAX_Moisture\":{\"value\":%d},\"Min_Moisture\":{\"value\":%d},\"interval_time\":{\"value\":%d}}}\"\r\n",item1.auto_control,item1.report_data,item1.MAX_Moisture,item1.Min_Moisture,item1.interval_time);
					HAL_UART_Transmit(&huart1,(uint8_t*)str1,strlen(str1),0xffff);while(HAL_UART_GetState(&huart1) == HAL_UART_STATE_BUSY_TX);
					HAL_UART_Transmit(&huart6, (uint8_t *)"publish topic OK....\r\n",22,1000);

					//

					int num1;int Serial_Num=-1;
					char mach[7];
					num1=BF((void *)&usart1_copy, (void *)"SV");
					if(num1!=-1){
					for (int k=0;k<7;k++){ mach[k]=usart1_copy[num1+k];}
					sscanf(mach, "SV%d", &Serial_Num);
					sprintf(str1,"SV%d",Serial_Num);
					item1.SV_state=cJSON_GetObjectItem(item,str1)->valueint;
					//
					int addr;
					if(Serial_Num==1){addr=65535;}
					else{addr=Read_ADDR(Serial_Num);}
					if (SV_operate(item1.SV_state,addr)==-1){;}
					else {
							sprintf(str1,"AT+ECMTPUB=0,1,1,0,\"/sys/gc6pOMrLMi8/NB-IoT_EC-01-Kit/thing/event/property/post\",\"{\"params\":{\"SV%d\":{\"value\":%d}}}\"\r\n",Serial_Num,item1.SV_state);
							HAL_UART_Transmit(&huart1,(uint8_t*)str1,strlen(str1),0xffff);while(HAL_UART_GetState(&huart1) == HAL_UART_STATE_BUSY_TX);
							HAL_UART_Transmit(&huart6, (uint8_t *)"publish topic OK....\r\n",22,1000);
					}}
					//

					if(BF((void *)&usart1_copy, "Pump")!=-1){
					item1.Pump_state=cJSON_GetObjectItem(item,"Pump")->valueint;item1.Pump_state=Pump_operate(item1.Pump_state,Serial_Num);
					sprintf(str1,"AT+ECMTPUB=0,1,1,0,\"/sys/gc6pOMrLMi8/NB-IoT_EC-01-Kit/thing/event/property/post\",\"{\"params\":{\"Pump\":{\"value\":%d}}}\"\r\n",item1.Pump_state);
					HAL_UART_Transmit(&huart1,(uint8_t*)str1,strlen(str1),0xffff);while(HAL_UART_GetState(&huart1) == HAL_UART_STATE_BUSY_TX);
					HAL_UART_Transmit(&huart6, (uint8_t *)"publish topic OK....\r\n",22,1000);
					}
				//
		}cJSON_Delete(cjson);
		memset(usart1_copy,0x00,sizeof(usart1_copy));
}}

int E18_Init(void){
	uint8_t L4[4]={0xFD,0x01,0x12,0xFF};
	int timeout=8;
	while(timeout--){
						HAL_UART_Transmit(&huart2,(void *)&L4,4,1000);
						HAL_UART_Receive(&huart2, (void *)&usart2_rebuff, 2,1000);
							if((usart2_rebuff[0] == 0xFA)&&(usart2_rebuff[1] == 0x12))
									{
										memset(usart2_rebuff,0x00,sizeof(usart2_rebuff));break;}
							memset(usart2_rebuff,0x00,sizeof(usart2_rebuff));
				}
		if (timeout<0){ printf("E18 reset falied !!!\r\n");return -1;}else{printf("E18 reset OK !!!\r\n");return 1;}

}

void W25Q32_Init(void){
	printf("W25QXX Init :%d\n",W25QXX_Init());
	printf("W25QXX ID :%d\n",W25QXX_ReadID());
	for(int i=1;i<17;i++){
	W25QXX_Erase_Sector(i);}
}
int fputc(int ch, FILE *f){
    HAL_UART_Transmit(&huart6, (uint8_t *)&ch,1, 0xFFFF);
    return ch;
}
void Params_Init(void){
	W25QXX_Read((uint8_t*)W25Q32_read_buff,0,14);
	//for(int i=0;i<12;i++){printf("%02x",W25Q32_read_buff[i]);}
	if ((W25Q32_read_buff[2]==0xFF)&&(W25Q32_read_buff[3]==0xFF)){
		item1.auto_control=1;			//1-bit, 1-yes,2-no
		item1.report_data=1;			//1-bit,1-yes,2-no
		item1.interval_time=100;  //2-bit,time=100*100ms=10s
		item1.MAX_Moisture=90;	//(%)
		item1.Min_Moisture=50;	//(%)
		item1.Pump_state=0;				//1-bit,1-run,2-stop
		item1.SV_state=0;					//1-bit,1-open,2-close
		item1.E18_mac_cnt=0;			//2-bit
		item1.ADDR_cnt=0;			//2-bit
		Record_Params();
	}else{
		item1.auto_control= W25Q32_read_buff[0];
		item1.report_data= W25Q32_read_buff[1];
		item1.interval_time=W25Q32_read_buff[2]*256+W25Q32_read_buff[3];
		item1.MAX_Moisture=W25Q32_read_buff[4]*256+W25Q32_read_buff[5];
		item1.Min_Moisture=W25Q32_read_buff[6]*256+W25Q32_read_buff[7];
		item1.Pump_state=0;
		item1.SV_state=W25Q32_read_buff[9];
		item1.E18_mac_cnt=W25Q32_read_buff[10]*256+W25Q32_read_buff[11];
		if ((W25Q32_read_buff[12]==0xFF)&&(W25Q32_read_buff[13]==0xFF)){item1.ADDR_cnt=0;}
		else{item1.ADDR_cnt=W25Q32_read_buff[12]*256+W25Q32_read_buff[13];}
		printf("read Params OK....\n");
	}
	memset(W25Q32_read_buff,0x00,sizeof(W25Q32_read_buff));
}

void Record_Mac_cnt(void){
		W25QXX_Write_Enable();
		uint8_t W25Q32_write_buff[2]={item1.E18_mac_cnt/256,item1.E18_mac_cnt%256};
		W25QXX_Write((uint8_t*)W25Q32_write_buff,10,2);
		W25QXX_Write_Disable();
}
void Record_Params(void){
		uint8_t W25Q32_write_buff[12]={item1.auto_control,item1.report_data,item1.interval_time/256,item1.interval_time%256,item1.MAX_Moisture/256,
		item1.MAX_Moisture%256,item1.Min_Moisture/265,item1.Min_Moisture%256,item1.Pump_state,item1.SV_state,item1.E18_mac_cnt/256,item1.E18_mac_cnt%256
		};
		W25QXX_Write_Enable();
		W25QXX_Write((uint8_t*)W25Q32_write_buff,0,12);
		W25QXX_Write_Disable();
}
void Record_SV_state(int SV_state,int Serial_Num){
		W25QXX_Write_Enable();
		unsigned char a[2]={0x00,0xff};
		if(SV_state==0){
				W25QXX_Write((void *)&a[1],addr_for_SV_state+Serial_Num-1,1);}// if poen ,write 0,if close write 1
		else if (SV_state==1){
				W25QXX_Write((void *)&a[0],addr_for_SV_state+Serial_Num-1,1);}// if poen ,write 0,if close write 1
		W25QXX_Write_Disable();
}
int Read_SV_state(void){
		unsigned char read_buf[1]={0xff};
		for(int k=0;k<E18_number;k++){
		W25QXX_Read((void *)&read_buf,addr_for_SV_state+k,1);
		if (read_buf[0]==0x00){return 1;}//if one more SV is opened ,the pump will run
		}
	return -1;
}
void Array_sort(void){
    int i, j, temp, isSorted;
    for(i=0; i<5-1; i++){
        isSorted = 1;
        for(j=0; j<5-1-i; j++){
            if(adc_list[j] > adc_list[j+1]){
                temp = adc_list[j];
                adc_list[j] = adc_list[j+1];
                adc_list[j+1] = temp;
                isSorted = 0;
            }
        }
        if(isSorted) break;
    }
}
/* USER CODE END 4 */

void Error_Handler(void)
{
  __disable_irq();
  while (1)
  {
  }
}

/************************ (C) COPYRIGHT STMicroelectronics *****END OF FILE****/
